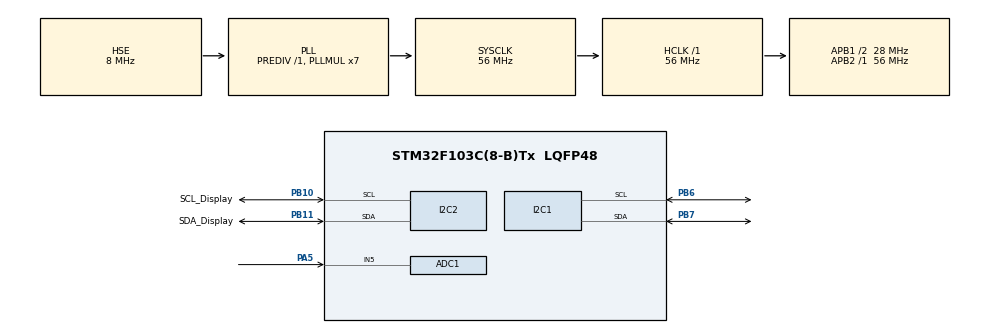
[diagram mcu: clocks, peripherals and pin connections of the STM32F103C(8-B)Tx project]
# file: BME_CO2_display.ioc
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ADC1.Channel-10\#ChannelInjectedConversion=ADC_CHANNEL_5
ADC1.Channel-9\#ChannelRegularConversion=ADC_CHANNEL_5
ADC1.InjNumberOfConversion=1
ADC1.InjectedOffset-10\#ChannelInjectedConversion=0
ADC1.NbrOfConversionFlag=1
ADC1.Rank-10\#ChannelInjectedConversion=1
ADC1.Rank-9\#ChannelRegularConversion=1
ADC1.SamplingTime-10\#ChannelInjectedConversion=ADC_SAMPLETIME_1CYCLE_5
ADC1.SamplingTime-9\#ChannelRegularConversion=ADC_SAMPLETIME_1CYCLE_5
ADC1.master=1
Mcu.Family=STM32F1
Mcu.Name=STM32F103C(8-B)Tx
Mcu.Package=LQFP48
NVIC.ADC1_2_IRQn=true\:0\:0\:false\:false\:true\:true
NVIC.PriorityGroup=NVIC_PRIORITYGROUP_4
NVIC.TIM2_IRQn=true\:0\:0\:false\:false\:true\:true
PA13.Mode=Serial_Wire
PA13.Signal=SYS_JTMS-SWDIO
PA14.Mode=Serial_Wire
PA14.Signal=SYS_JTCK-SWCLK
PA5.Signal=ADCx_IN5
PB10.GPIO_Label=SCL_Display
PB10.Mode=I2C
PB10.Signal=I2C2_SCL
PB11.GPIO_Label=SDA_Display
PB11.Mode=I2C
PB11.Signal=I2C2_SDA
PB6.Mode=I2C
PB6.Signal=I2C1_SCL
PB7.Mode=I2C
PB7.Signal=I2C1_SDA
PD0-OSC_IN.Mode=HSE-External-Oscillator
PD0-OSC_IN.Signal=RCC_OSC_IN
PD1-OSC_OUT.Mode=HSE-External-Oscillator
PD1-OSC_OUT.Signal=RCC_OSC_OUT
ProjectManager.HeapSize=0x200
ProjectManager.StackSize=0x400
ProjectManager.TargetToolchain=TrueSTUDIO
RCC.ADCPresc=RCC_ADCPCLK2_DIV4
RCC.AHBFreq_Value=56000000
RCC.APB1CLKDivider=RCC_HCLK_DIV2
RCC.APB1Freq_Value=28000000
RCC.APB1TimFreq_Value=56000000
RCC.APB2Freq_Value=56000000
RCC.APB2TimFreq_Value=56000000
RCC.HCLKFreq_Value=56000000
RCC.PLLMUL=RCC_PLL_MUL7
RCC.PLLSourceVirtual=RCC_PLLSOURCE_HSE
RCC.SYSCLKFreq_VALUE=56000000
RCC.SYSCLKSource=RCC_SYSCLKSOURCE_PLLCLK
RCC.USBFreq_Value=56000000
SH.ADCx_IN5.0=ADC1_IN5,IN5
TIM2.Period=1000
TIM2.Prescaler=14400
VP_TIM2_VS_ClockSourceINT.Mode=Internal
board=custom

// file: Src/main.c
/* USER CODE BEGIN Header */
/**
  ******************************************************************************
  * @file           : main.c
  * @brief          : Main program body
  ******************************************************************************
  ** This notice applies to any and all portions of this file
  * that are not between comment pairs USER CODE BEGIN and
  * USER CODE END. Other portions of this file, whether
  * inserted by the user or by software development tools
  * are owned by their respective copyright owners.
  *
  * COPYRIGHT(c) 2019 STMicroelectronics
  *
  * Redistribution and use in source and binary forms, with or without modification,
  * are permitted provided that the following conditions are met:
  *   1. Redistributions of source code must retain the above copyright notice,
  *      this list of conditions and the following disclaimer.
  *   2. Redistributions in binary form must reproduce the above copyright notice,
  *      this list of conditions and the following disclaimer in the documentation
  *      and/or other materials provided with the distribution.
  *   3. Neither the name of STMicroelectronics nor the names of its contributors
  *      may be used to endorse or promote products derived from this software
  *      without specific prior written permission.
  *
  * THIS SOFTWARE IS PROVIDED BY THE COPYRIGHT HOLDERS AND CONTRIBUTORS "AS IS"
  * AND ANY EXPRESS OR IMPLIED WARRANTIES, INCLUDING, BUT NOT LIMITED TO, THE
  * IMPLIED WARRANTIES OF MERCHANTABILITY AND FITNESS FOR A PARTICULAR PURPOSE ARE
  * DISCLAIMED. IN NO EVENT SHALL THE COPYRIGHT HOLDER OR CONTRIBUTORS BE LIABLE
  * FOR ANY DIRECT, INDIRECT, INCIDENTAL, SPECIAL, EXEMPLARY, OR CONSEQUENTIAL
  * DAMAGES (INCLUDING, BUT NOT LIMITED TO, PROCUREMENT OF SUBSTITUTE GOODS OR
  * SERVICES; LOSS OF USE, DATA, OR PROFITS; OR BUSINESS INTERRUPTION) HOWEVER
  * CAUSED AND ON ANY THEORY OF LIABILITY, WHETHER IN CONTRACT, STRICT LIABILITY,
  * OR TORT (INCLUDING NEGLIGENCE OR OTHERWISE) ARISING IN ANY WAY OUT OF THE USE
  * OF THIS SOFTWARE, EVEN IF ADVISED OF THE POSSIBILITY OF SUCH DAMAGE.
  *
  ******************************************************************************
  */
/* USER CODE END Header */

#include "main.h"
#include "adc.h"
#include "i2c.h"
#include "tim.h"
#include "gpio.h"

/* USER CODE BEGIN Includes */
#include "ssd1306.h"
#include "BME280.h"
#include "stdio.h"
/* USER CODE END Includes */

/* USER CODE BEGIN PV */
uint8_t flag;
unsigned char str[20];
HAL_StatusTypeDef status;
uint16_t counter;
extern I2C_HandleTypeDef hi2c1;
uint16_t address;
uint8_t i = 1;
float  ADC_data;
const double Rl      = 1000.0;               // Rl (Ohm) - Load resistance
//const double Vadc_5  = 0.0012207031;         // ADC step 5V/4096  (12bit ADC)
float RS, RO;
 const double Vadc_33 = 0.0008056640625;         // ADC step 3,3V/4096  (12bit ADC)
 double Vrl;                                  // Output voltage
 double Rs;                                   // Rs (Ohm) - Sensor resistance
 double ppm;                                  // ppm
 double ratio;
 uint16_t ppm2;
 float validint;
 float a,b, minRso, maxRso;
/* USER CODE END PV */

void SystemClock_Config(void);
/* USER CODE BEGIN PFP */
void calculatePPM();
/* USER CODE END PFP */

int main(void)
{
  /* USER CODE BEGIN 1 */
	short tf = 0.0f, pf = 0.0f, af = 0.0f, hf = 0.0f;
  /* USER CODE END 1 */

  /* MCU Configuration--------------------------------------------------------*/

  /* Reset of all peripherals, Initializes the Flash interface and the Systick. */
  HAL_Init();

  /* Configure the system clock */
  SystemClock_Config();

  /* Initialize all configured peripherals */
  MX_GPIO_Init();
  MX_I2C1_Init();
  MX_I2C2_Init();
  MX_TIM2_Init();
  MX_ADC1_Init();
  /* USER CODE BEGIN 2 */
 /* for(; i > 0 && i < 256; i++)
  {
  	status = HAL_I2C_IsDeviceReady(&hi2c1, (uint16_t)i, (uint32_t)3, (uint32_t)1000);
  	if(status == HAL_OK)
  		address = (uint16_t)i;
  	else if(status == HAL_BUSY)
  	{
  		I2C2->CR1 |= I2C_CR1_SWRST;
  		 MX_I2C1_Init();
  	}
  	HAL_Delay(100);
  }
  if(i == 0)
  	;*/
  SSD1306_Init();
    BME280_ini();
    HAL_TIM_Base_Start_IT(&htim2);
  /* USER CODE END 2 */

  /* Infinite loop */
  /* USER CODE BEGIN WHILE */
  while (1)
  {
	  if(flag)
		  	{
		  HAL_ADCEx_InjectedStart(&hadc1);
		 	  	  HAL_ADCEx_InjectedPollForConversion(&hadc1, 100);
		 	  	  ADC_data = HAL_ADCEx_InjectedGetValue(&hadc1, ADC_INJECTED_RANK_1);
		 	  	  HAL_ADCEx_InjectedStop(&hadc1);
		 	  	  calculatePPM();
		  	 SSD1306_Fill(SSD1306_COLOR_BLACK);
		  	SSD1306_UpdateScreen();
		  	tf = BME280_ReadTemperature();
		  snprintf(&str, sizeof(str), "Temperature: %i C", tf);
		  SSD1306_GotoXY(0, 10);
		  SSD1306_Puts(str, &Font_7x10, SSD1306_COLOR_WHITE);

		  pf = BME280_ReadPressure()/1000.0;
		  snprintf(str, sizeof(str), "Pressure: %i mmHg", pf);
		  SSD1306_GotoXY(0, 20);
		  SSD1306_Puts(str, &Font_7x10, SSD1306_COLOR_WHITE);

		  af = BME280_ReadAltitude(SEALEVELPRESSURE_PA);
		  snprintf(str, sizeof(str), "Altitude: %i m", af);
		  SSD1306_GotoXY(0, 30);
		  SSD1306_Puts(str, &Font_7x10, SSD1306_COLOR_WHITE);

		  hf = BME280_ReadHumidity();
		  snprintf(str, sizeof(str), "Humidity: %i %%", hf);
		  SSD1306_GotoXY(0, 40);
		  SSD1306_Puts(str, &Font_7x10, SSD1306_COLOR_WHITE);

		  ppm2 = ppm;
		  snprintf(str, sizeof(str), "CO2 lev: %i ppm", ppm2);
		  SSD1306_GotoXY(0, 50);
		  SSD1306_Puts(str, &Font_7x10, SSD1306_COLOR_WHITE);
		  SSD1306_UpdateScreen();

	 flag = 0;
		  	}
    /* USER CODE END WHILE */

  }
}

void SystemClock_Config(void)
{
  RCC_OscInitTypeDef RCC_OscInitStruct = {0};
  RCC_ClkInitTypeDef RCC_ClkInitStruct = {0};
  RCC_PeriphCLKInitTypeDef PeriphClkInit = {0};

  /**Initializes the CPU, AHB and APB busses clocks
  */
  RCC_OscInitStruct.OscillatorType = RCC_OSCILLATORTYPE_HSE;
  RCC_OscInitStruct.HSEState = RCC_HSE_ON;
  RCC_OscInitStruct.HSEPredivValue = RCC_HSE_PREDIV_DIV1;
  RCC_OscInitStruct.HSIState = RCC_HSI_ON;
  RCC_OscInitStruct.PLL.PLLState = RCC_PLL_ON;
  RCC_OscInitStruct.PLL.PLLSource = RCC_PLLSOURCE_HSE;
  RCC_OscInitStruct.PLL.PLLMUL = RCC_PLL_MUL7;
  if (HAL_RCC_OscConfig(&RCC_OscInitStruct) != HAL_OK)
  {
    Error_Handler();
  }
  /**Initializes the CPU, AHB and APB busses clocks
  */
  RCC_ClkInitStruct.ClockType = RCC_CLOCKTYPE_HCLK|RCC_CLOCKTYPE_SYSCLK
                              |RCC_CLOCKTYPE_PCLK1|RCC_CLOCKTYPE_PCLK2;
  RCC_ClkInitStruct.SYSCLKSource = RCC_SYSCLKSOURCE_PLLCLK;
  RCC_ClkInitStruct.AHBCLKDivider = RCC_SYSCLK_DIV1;
  RCC_ClkInitStruct.APB1CLKDivider = RCC_HCLK_DIV2;
  RCC_ClkInitStruct.APB2CLKDivider = RCC_HCLK_DIV1;

  if (HAL_RCC_ClockConfig(&RCC_ClkInitStruct, FLASH_LATENCY_2) != HAL_OK)
  {
    Error_Handler();
  }
  PeriphClkInit.PeriphClockSelection = RCC_PERIPHCLK_ADC;
  PeriphClkInit.AdcClockSelection = RCC_ADCPCLK2_DIV4;
  if (HAL_RCCEx_PeriphCLKConfig(&PeriphClkInit) != HAL_OK)
  {
    Error_Handler();
  }
}

/* USER CODE BEGIN 4 */
//Calculation of PPM
 void calculatePPM()
 {
   double lgPPM;
   a= 1.5020682;
   	b = -0.9;
   Vrl = (double)ADC_data*Vadc_33;             // For 5V Vcc use Vadc_5
  // Rs = (3.3 - Vrl)/Vrl;                   // Calculate sensor resistance
   Rs= (Rl*5 - Vrl*Rl)/Vrl;
   RO = exp(log(a /414.14)/ b);
   //Rs = (Vrl - 1) * 10;
   ratio = Rs/RO;                             // Calculate ratio
   lgPPM = (log10(ratio) * -b)+ a;        // Calculate ppm
   ppm = pow(10,lgPPM);                       // Calculate ppm
 }
/* USER CODE END 4 */

void Error_Handler(void)
{
}

/************************ (C) COPYRIGHT STMicroelectronics *****END OF FILE****/
